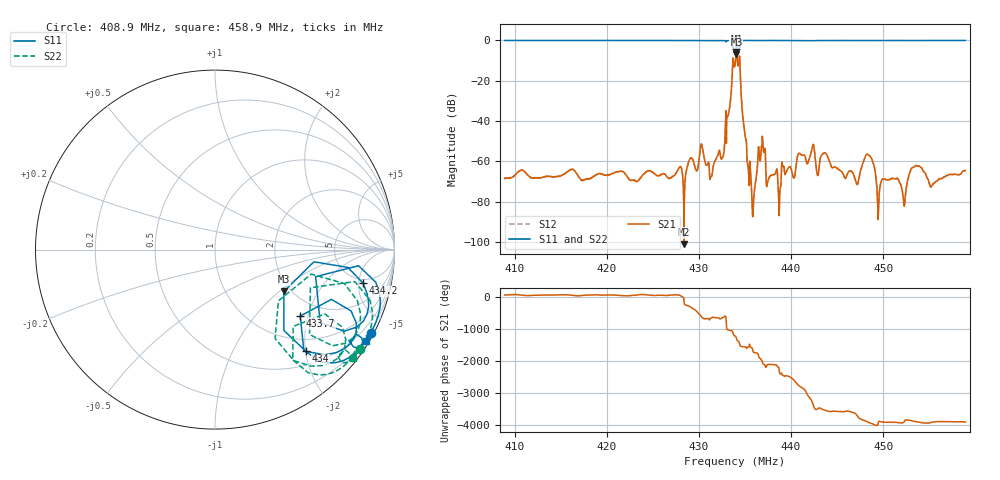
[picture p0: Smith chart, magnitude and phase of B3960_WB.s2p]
! Matrix data file written by TouchstoneData, EPCOS AG
! FILENAME: "B3960_WB.s2p"
! COMMENT: "PINNING 1/4; PORTEX 1=103PS; 2=189.5PS; 23 F"
! INFO: nport=2, nfreq=1601
! DATE: "Wed Feb  1 13:55:12 2012"
! USER: "Wilfried Schott"
! port | pin | signal
!  1  |  1  |  IN
!  2  |  4  |  OUT
# MHZ S MA R 50
! freq  magS11 angS11  magS21 angS21  magS12 angS12  magS22 angS22
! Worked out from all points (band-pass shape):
!   1601 points, 408.9 MHz to 458.9 MHz, reference 50 ohm
!   highest |S21| = -5.64 dB at 434.1 MHz (marker M1); lowest = -101.0 dB at 428.4 MHz (marker M2)
!   |S21| within 3 dB of the highest: 434.0096 MHz to 434.1525 MHz (142.9 kHz wide, 0.0329 % of centre); 434.3877 MHz to 434.4262 MHz (38.43 kHz wide, 0.00885 % of centre)
!   lowest |S11| = -6.9 dB at 434.1 MHz (marker M3), VSWR 2.63, Z = 91.9 - j53.8 ohm
!   |S11| at or under -10 dB: nowhere
!   |S22| runs from -6.9 to -0.2 dB; largest |S21 - S12| = 0.0024
!   S11 on the Smith chart (normalised r, x): 408.9 MHz: 0.13, -4.01; 433.7 MHz: 1.54, -1.79; 434 MHz: 0.75, -2.01; 434.2 MHz: 4.32, -5.70; 458.9 MHz: 0.11, -3.58
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408.92  0.9855 -28.0  0.0003747 64.3  0.0003793 64.5  0.981 -34.3
417.2638  0.9843 -28.6  0.0003408 46.9  0.00034 48.5  0.9795 -35.1
425.6075  0.9839 -29.5  0.0004398 55.6  0.0004418 55.3  0.9789 -36.1
428.3888  0.98 -29.9  8.906e-06 -125.8  7.917e-06 -138.4  0.9746 -36.6
430.295  0.98 -30.2  0.002634 98.4  0.002625 98.5  0.9748 -36.9
431.3575  0.9828 -30.9  0.0004181 66.5  0.0004211 66.4  0.9771 -37.5
432.545  0.98 -32.5  0.001219 68.6  0.001215 68.6  0.9738 -39.1
433.7013  0.6021 -37.9  0.3621 -42.7  0.3612 -42.6  0.6106 -44.6
433.92  0.9081 -37.4  0.2342 -135.8  0.2331 -135.7  0.9031 -44.2
434.0138  0.7603 -48.2  0.3802 -162.8  0.3782 -162.6  0.7592 -54.6
434.0763  0.4493 -31.3  0.5221 151.4  0.5213 151.4  0.4542 -39.0
434.17  0.8461 -12.8  0.3264 86.7  0.3245 86.6  0.8428 -19.8
435.8888  0.9844 -27.5  6.467e-05 88.9  5.892e-05 88.0  0.9783 -34.3
436.9513  0.983 -28.4  0.002462 81.0  0.002453 81.2  0.9773 -35.1
437.5138  0.9838 -28.7  0.0003392 54.5  0.0003374 54.9  0.9778 -35.5
438.7013  0.9831 -29.2  4.535e-05 -75.6  4.51e-05 -83.6  0.9769 -36.0
442.2638  0.9762 -29.9  0.001982 -14.5  0.001974 -14.2  0.9705 -36.7
450.6075  0.9834 -30.4  0.0003497 51.5  0.0003441 51.6  0.9767 -37.3
452.2638  0.9828 -30.6  8.262e-05 57.1  8.723e-05 60.6  0.9765 -37.5
453.42  0.983 -30.7  0.0007497 77.2  0.0007425 77.3  0.9764 -37.7
455.2325  0.9833 -30.8  0.0002365 52.5  0.0002366 50.9  0.9767 -37.8
458.92  0.9836 -31.2  0.0005941 56.3  0.0005849 55.7  0.9782 -38.2
